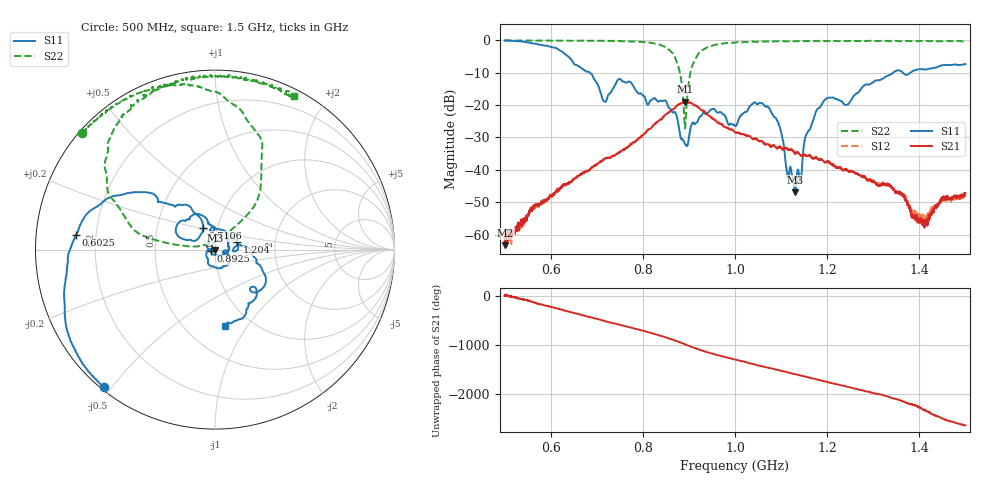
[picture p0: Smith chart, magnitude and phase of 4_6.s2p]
!Agilent Technologies,E8364B,US42250235,A.06.04.32
!Agilent E8364B: A.06.04.32
!Date: Friday, January 15, 2021 12:37:10
!Correction: S11(Full 2 Port(1,2)) S21(Full 2 Port(1,2)) S12(Full 2 Port(1,2)) S22(Full 2 Port(1,2))
!S2P File: Measurements: S11, S21, S12, S22:
# Hz S  dB  R 50
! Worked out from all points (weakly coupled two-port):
!   1601 points, 500 MHz to 1.5 GHz, reference 50 ohm
!   highest |S21| = -18.96 dB at 892.5 MHz (marker M1); lowest = -63.3 dB at 501.2 MHz (marker M2)
!   lowest |S11| = -46.9 dB at 1.131 GHz (marker M3), VSWR 1.01, Z = 50.2 - j0.412 ohm
!   |S11| at or under -10 dB: 684.6 MHz to 1.343 GHz (658.9 MHz wide, 65 % of centre); 1.364 GHz to 1.381 GHz (16.56 MHz wide, 1.21 % of centre)
!   |S22| runs from -27.2 to -0.1 dB; largest |S21 - S12| = 0.0043
!   S11 on the Smith chart (normalised r, x): 500 MHz: 0.01, -0.48; 602.5 MHz: 0.13, +0.05; 710.6 MHz: 0.85, +0.21; 892.5 MHz: 0.96, -0.02; 1.204 GHz: 1.28, +0.11; 1.5 GHz: 0.76, -0.79
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5e8  -0.12 -128.9  -60.66 13.7  -61.94 28.3  -0.14 138.6
5.0125e8  -0.12 -129.4  -63.26 -5.4  -60.99 21.7  -0.14 138.5
6.025e8  -2.18 174.0  -48.34 131.3  -48.09 133.7  -0.20 129.3
6.66875e8  -8.66 136.1  -41.10 -27.3  -41.38 -29.2  -0.17 122.2
7.10625e8  -17.28 118.7  -37.45 -135.4  -37.19 -135.4  -0.23 117.0
7.5e8  -11.95 144.8  -34.55 128.2  -34.44 129.1  -0.26 111.1
8.3375e8  -19.03 86.9  -24.98 -82.0  -24.86 -84.2  -1.25 87.8
8.70625e8  -22.39 1.9  -20.69 166.1  -20.66 163.9  -5.65 60.3
8.925e8  -32.25 -157.4  -18.96 85.1  -18.95 83.9  -25.85 142.7
9.04375e8  -26.60 161.0  -19.34 40.8  -19.32 39.1  -9.31 170.8
9.20625e8  -24.43 108.8  -20.80 -15.0  -20.74 -16.1  -4.18 154.5
9.525e8  -21.17 36.0  -24.33 -107.0  -24.16 -109.5  -1.60 135.7
1e9  -26.44 -20.0  -28.39 135.9  -28.20 133.2  -0.76 120.7
1.039375e9  -19.40 -43.9  -30.55 44.2  -30.37 40.5  -0.46 114.6
1.0725e9  -20.62 -108.2  -32.16 -32.4  -32.27 -35.1  -0.40 108.8
1.13125e9  -46.88 -65.1  -35.00 -165.7  -34.45 -172.1  -0.37 102.0
1.166875e9  -25.74 81.1  -36.24 111.6  -36.33 108.0  -0.37 98.1
1.20375e9  -17.73 18.8  -37.43 26.1  -37.81 21.8  -0.29 93.6
1.243125e9  -19.92 -1.0  -39.95 -60.3  -40.02 -64.5  -0.30 90.3
1.33375e9  -10.82 -23.3  -44.67 89.3  -44.97 82.0  -0.29 81.4
1.4125e9  -9.08 -58.3  -55.98 168.8  -54.78 171.0  -0.32 72.8
1.5e9  -7.39 -82.9  -47.08 -134.9  -47.87 -139.2  -0.33 62.6
